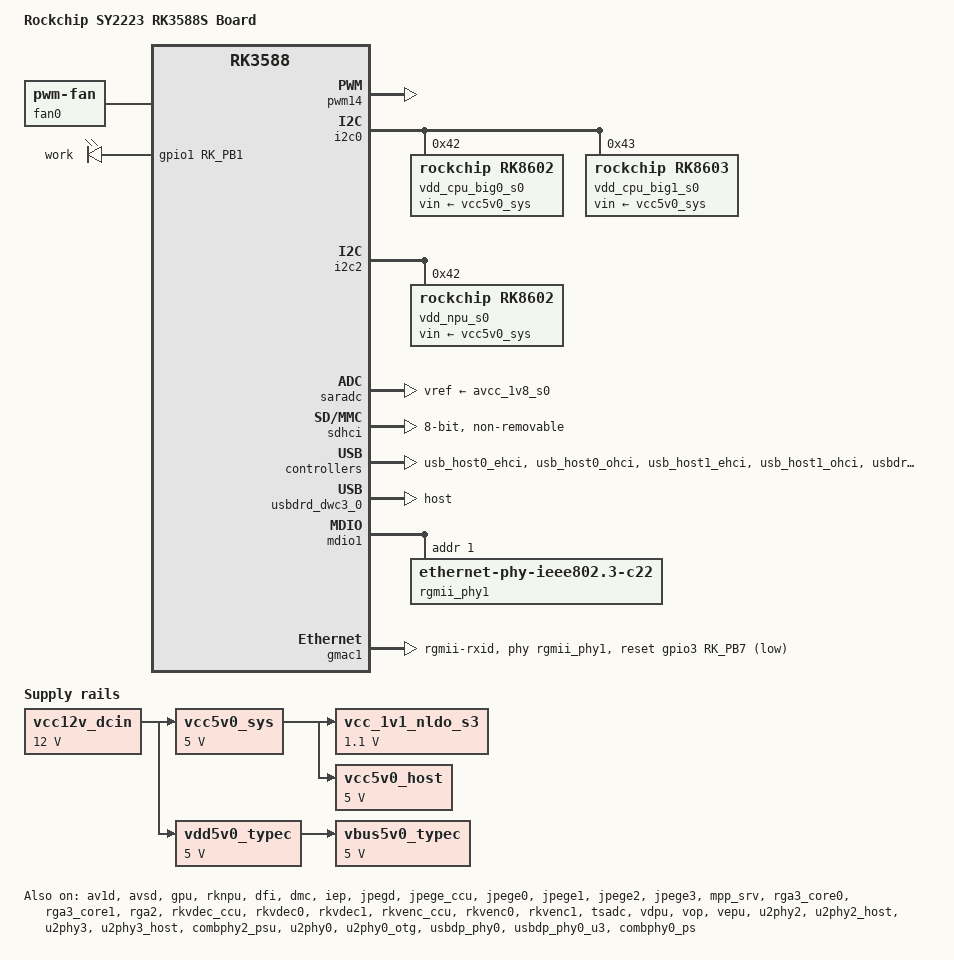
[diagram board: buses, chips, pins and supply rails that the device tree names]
// SPDX-License-Identifier: (GPL-2.0+ OR MIT)
/*
 * Copyright (c) 2022 Rockchip Electronics Co., Ltd.
 * Copyright (c) 2022 Radxa Limited
 * Modify by dy008
 */

/dts-v1/;

#include <dt-bindings/usb/pd.h>
#include <dt-bindings/gpio/gpio.h>
#include <dt-bindings/leds/common.h>
#include <dt-bindings/pwm/pwm.h>
#include <dt-bindings/pinctrl/rockchip.h>
#include <dt-bindings/input/rk-input.h>
#include <dt-bindings/display/drm_mipi_dsi.h>
#include <dt-bindings/display/rockchip_vop.h>
#include <dt-bindings/sensor-dev.h>
#include "rk3588s.dtsi"
#include "rk3588-rk806-single.dtsi"
#include "rk3588-linux.dtsi"

/ {
	model = "Rockchip SY2223 RK3588S Board";
	compatible = "rockchip,sy2223-rk3588s", "rockchip,rk3588";

	/delete-node/ chosen;

	fan0: pwm-fan {
		compatible = "pwm-fan";
		#cooling-cells = <2>;
		cooling-levels = <0 64 128 192 255>;
		//pwms = <&pwm14 0 10000 0>;
	};

	vcc12v_dcin: vcc12v-dcin {
		compatible = "regulator-fixed";
		regulator-name = "vcc12v_dcin";
		regulator-always-on;
		regulator-boot-on;
		regulator-min-microvolt = <12000000>;
		regulator-max-microvolt = <12000000>;
	};

	vcc5v0_sys: vcc5v0-sys {
		compatible = "regulator-fixed";
		regulator-name = "vcc5v0_sys";
		regulator-always-on;
		regulator-boot-on;
		regulator-min-microvolt = <5000000>;
		regulator-max-microvolt = <5000000>;
		vin-supply = <&vcc12v_dcin>;
	};

	vdd5v0_typec: vdd5v0-typec {
		compatible = "regulator-fixed";
		regulator-name = "vdd5v0_typec";
		regulator-always-on;
		regulator-boot-on;
		regulator-min-microvolt = <5000000>;
		regulator-max-microvolt = <5000000>;
		vin-supply = <&vcc12v_dcin>;
	};

	vbus5v0_typec: vbus5v0-typec {
		compatible = "regulator-fixed";
		regulator-name = "vbus5v0_typec";
		regulator-min-microvolt = <5000000>;
		regulator-max-microvolt = <5000000>;
		enable-active-high;
		//gpio = <&gpio4 RK_PA2 GPIO_ACTIVE_HIGH>;
		vin-supply = <&vdd5v0_typec>;
		pinctrl-names = "default";
		//pinctrl-0 = <&vbus5v_typec_pwren>;
	};

	vcc_1v1_nldo_s3: vcc-1v1-nldo-s3 {
		compatible = "regulator-fixed";
		regulator-name = "vcc_1v1_nldo_s3";
		regulator-always-on;
		regulator-boot-on;
		regulator-min-microvolt = <1100000>;
		regulator-max-microvolt = <1100000>;
		vin-supply = <&vcc5v0_sys>;
	};


	vcc5v0_host: vcc5v0-host-regulator {
		compatible = "regulator-fixed";
		regulator-name = "vcc5v0_host";
		regulator-boot-on;
		regulator-always-on;
		regulator-min-microvolt = <5000000>;
		regulator-max-microvolt = <5000000>;
		enable-active-high;
		//gpio = <0xba 0x18 0x00>;
		//gpio = <&gpio3 RK_PD0 GPIO_ACTIVE_HIGH>;
		pinctrl-names = "default";
		//pinctrl-0 = <&vcc5v0_host_en>;
		vin-supply = <&vcc5v0_sys>;
	};

	sdio_pwrseq: sdio-pwrseq {
		compatible = "mmc-pwrseq-simple";
		clocks = <&xin32k>;
		clock-names = "ext_clock";
		post-power-on-delay-ms = <200>;
	};

	/* wireless-wlan {
		compatible = "wlan-platdata";
		wifi_chip_type = "fc80a";
		pinctrl-names = "default";
		//pinctrl-0 = <&wifi_host_wake_irq &wifi_poweren_gpio>;
		//WIFI,host_wake_irq = <0x10e 0x00 0x00>;
		//WIFI,host_wake_irq = <&gpio0 RK_PA0 GPIO_ACTIVE_HIGH>;
		//WIFI,poweren_gpio = <0x10e 0x17 0x00>;
		//WIFI,poweren_gpio = <&gpio0 RK_PC7 GPIO_ACTIVE_HIGH>;
		status = "okay";
	}; */

	/* wireless-bluetooth {
		compatible = "bluetooth-platdata";
		clock-names = "ext_clock";
		//uart_rts_gpios = <0x10b 0x1e 0x01>;
		uart_rts_gpios = <&gpio1 RK_PD6 GPIO_ACTIVE_LOW>;
		pinctrl-names = "default", "rts_gpio";
		pinctrl-0 = <&bt_reset_gpio &bt_wake_gpio &bt_wake_host_irq>;
		pinctrl-1 = <&uart1_gpios>;
		BT,reset_gpio = <&gpio0 RK_PD4 GPIO_ACTIVE_HIGH>;
		BT,wake_gpio = <&gpio0 RK_PC6 GPIO_ACTIVE_HIGH>;
		BT,wake_host_irq = <&gpio0 RK_PB0 GPIO_ACTIVE_HIGH>;
		status = "okay";
	}; */

	/* dp0_sound: dp0-sound {
		status = "okay";
		compatible = "rockchip,hdmi";
		rockchip,card-name = "rockchip-dp0";
		rockchip,mclk-fs = <512>;
		rockchip,cpu = <&spdif_tx2>;
		rockchip,codec = <&dp0 1>;
		rockchip,jack-det;
	}; */

	gpio-leds {
		compatible = "gpio-leds";
		work {
			//gpios = <0x10b 0x09 0x00>;
			gpios = <&gpio1 RK_PB1 GPIO_ACTIVE_HIGH>;
			linux,default-trigger = "heartbeat";
		};
	};
};

&pwm14 {
	pinctrl-names = "active";
	//pinctrl-0 = <&pwm14m1_pins>;
	status = "okay";
};

&i2c0 {
	status = "okay";
	pinctrl-names = "default";
	pinctrl-0 = <&i2c0m2_xfer>;

	vdd_cpu_big0_s0: vdd_cpu_big0_mem_s0: rk8602@42 {
		compatible = "rockchip,rk8602";
		reg = <0x42>;
		vin-supply = <&vcc5v0_sys>;
		regulator-compatible = "rk860x-reg";
		regulator-name = "vdd_cpu_big0_s0";
		regulator-min-microvolt = <550000>;
		regulator-max-microvolt = <1050000>;
		regulator-ramp-delay = <2300>;
		rockchip,suspend-voltage-selector = <1>;
		regulator-boot-on;
		regulator-always-on;
		regulator-state-mem {
			regulator-off-in-suspend;
		};
	};

	vdd_cpu_big1_s0: vdd_cpu_big1_mem_s0: rk8603@43 {
		compatible = "rockchip,rk8603";
		reg = <0x43>;
		vin-supply = <&vcc5v0_sys>;
		regulator-compatible = "rk860x-reg";
		regulator-name = "vdd_cpu_big1_s0";
		regulator-min-microvolt = <550000>;
		regulator-max-microvolt = <1050000>;
		regulator-ramp-delay = <2300>;
		rockchip,suspend-voltage-selector = <1>;
		regulator-boot-on;
		regulator-always-on;
		regulator-state-mem {
			regulator-off-in-suspend;
		};
	};
};

&i2c2 {
	status = "okay";
	pinctrl-names = "default";
	pinctrl-0 = <&i2c2m0_xfer>;

	vdd_npu_s0: vdd_npu_mem_s0: rk8602@42 {
		compatible = "rockchip,rk8602";
		reg = <0x42>;
		vin-supply = <&vcc5v0_sys>;
		regulator-compatible = "rk860x-reg";
		regulator-name = "vdd_npu_s0";
		regulator-min-microvolt = <550000>;
		regulator-max-microvolt = <950000>;
		regulator-ramp-delay = <2300>;
		rockchip,suspend-voltage-selector = <1>;
		regulator-boot-on;
		regulator-always-on;
		regulator-state-mem {
			regulator-off-in-suspend;
		};
	};
};

/* &i2c1 {
	pinctrl-names = "default";
	pinctrl-0 = <&i2c1m4_xfer>;
	status = "okay";

	// Typec Controller Fusb302
	usbc0: fusb302@22 {
		compatible = "fcs,fusb302";
		reg = <0x22>;
		interrupt-parent = <&gpio1>;
		interrupts = <RK_PA6 IRQ_TYPE_LEVEL_LOW>;
		pinctrl-names = "default";
		pinctrl-0 = <&usbc0_int>;
		vbus-supply = <&vbus5v0_typec>;
		status = "okay";

		ports {
			#address-cells = <1>;
			#size-cells = <0>;

			port@0 {
				reg = <0>;
				usbc0_role_sw: endpoint@0 {
					remote-endpoint = <&dwc3_0_role_switch>;
				};
			};
		};

        usb_con: connector {
			compatible = "usb-c-connector";
			label = "USB-C";
			data-role = "dual";
			faster-pd-negotiation;
			power-role = "sink";
			try-power-role = "sink";
			op-sink-microwatt = <1000000>;
			sink-pdos = <PDO_FIXED(5000, 3000, PDO_FIXED_USB_COMM)>;
			source-pdos = <PDO_FIXED(5000, 3000, PDO_FIXED_USB_COMM)>;

			altmodes {
				#address-cells = <1>;
				#size-cells = <0>;

				altmode@0 {
					reg = <0>;
					svid = <0xff01>;
					vdo = <0xffffffff>;
				};
			};

			ports {
				#address-cells = <1>;
				#size-cells = <0>;

				port@0 {
					reg = <0>;
					usbc0_orien_sw: endpoint {
						remote-endpoint = <&usbdp_phy0_orientation_switch>;
					};
				};

				port@1 {
					reg = <1>;
					dp_altmode_mux: endpoint {
						remote-endpoint = <&usbdp_phy0_dp_altmode_mux>;
					};
				};
			};
		};
    };
}; */

&av1d {
	status = "okay";
};

&av1d_mmu {
	status = "okay";
};

&avsd {
	status = "okay";
};

/* CPU */

&cpu_l0 {
	cpu-supply = <&vdd_cpu_lit_s0>;
	mem-supply = <&vdd_cpu_lit_mem_s0>;
};

&cpu_b0 {
	cpu-supply = <&vdd_cpu_big0_s0>;
	mem-supply = <&vdd_cpu_big0_mem_s0>;
};

&cpu_b1 {
	cpu-supply = <&vdd_cpu_big0_s0>;
	mem-supply = <&vdd_cpu_big0_mem_s0>;
	#cooling-cells = <2>;
};

&cpu_b2 {
	cpu-supply = <&vdd_cpu_big1_s0>;
	mem-supply = <&vdd_cpu_big1_mem_s0>;
};

&cpu_b3 {
	cpu-supply = <&vdd_cpu_big1_s0>;
	mem-supply = <&vdd_cpu_big1_mem_s0>;
	#cooling-cells = <2>;
};

/* GPU */

&gpu {
	mali-supply = <&vdd_gpu_s0>;
	mem-supply = <&vdd_gpu_mem_s0>;
	status = "okay";
};

/* NPU */

&rknpu {
	rknpu-supply = <&vdd_npu_s0>;
	mem-supply = <&vdd_npu_mem_s0>;
	status = "okay";
};

&dfi {
	status = "okay";
};

&dmc {
	status = "okay";
	center-supply = <&vdd_ddr_s0>;
	mem-supply = <&vdd_log_s0>;
};

&rknpu_mmu {
	status = "okay";
};

&iep {
	status = "okay";
};

&iep_mmu {
	status = "okay";
};

&jpegd {
	status = "okay";
};

&jpegd_mmu {
	status = "okay";
};

&jpege_ccu {
	status = "okay";
};

&jpege0 {
	status = "okay";
};

&jpege0_mmu {
	status = "okay";
};

&jpege1 {
	status = "okay";
};

&jpege1_mmu {
	status = "okay";
};

&jpege2 {
	status = "okay";
};

&jpege2_mmu {
	status = "okay";
};

&jpege3 {
	status = "okay";
};

&jpege3_mmu {
	status = "okay";
};

&mpp_srv {
	status = "okay";
};

&rga3_core0 {
	status = "okay";
};

&rga3_0_mmu {
	status = "okay";
};

&rga3_core1 {
	status = "okay";
};

&rga3_1_mmu {
	status = "okay";
};

&rga2 {
	status = "okay";
};

&rkvdec_ccu {
	status = "okay";
};

&rkvdec0 {
	status = "okay";
};

&rkvdec0_mmu {
	status = "okay";
};

&rkvdec1 {
	status = "okay";
};

&rkvdec1_mmu {
	status = "okay";
};

&rkvenc_ccu {
	status = "okay";
};

&rkvenc0 {
	status = "okay";
};

&rkvenc0_mmu {
	status = "okay";
};

&rkvenc1 {
	status = "okay";
};

&rkvenc1_mmu {
	status = "okay";
};

&saradc {
	status = "okay";
	vref-supply = <&avcc_1v8_s0>;
};

/* Storage */
/* eMMC */

&sdhci {
	bus-width = <8>;
	no-sdio;
	no-sd;
	non-removable;
	max-frequency = <200000000>;
	mmc-hs200-1_8v;
	mmc-hs400-1_8v;
	mmc-hs400-enhanced-strobe;
	status = "okay";
};

/* SD */

/* &sdmmc {
	max-frequency = <200000000>;
	no-sdio;
	no-mmc;
	bus-width = <4>;
	cap-mmc-highspeed;
	cap-sd-highspeed;
	disable-wp;
	sd-uhs-sdr104;
	vqmmc-supply = <&vccio_sd_s0>;
	pinctrl-names = "default";
	pinctrl-0 = <&sdmmc_bus4 &sdmmc_clk &sdmmc_cmd &sdmmc_det>;
	status = "okay";
}; */

/* &sdio {
	max-frequency = <150000000>;
	no-sd;
	no-mmc;
	bus-width = <4>;
	disable-wp;
	cap-sd-highspeed;
	cap-sdio-irq;
	keep-power-in-suspend;
	mmc-pwrseq = <&sdio_pwrseq>;
	non-removable;
	pinctrl-names = "default";
	pinctrl-0 = <&sdiom1_pins>;
	sd-uhs-sdr104;
	status = "okay";
}; */

/* ADC */

&tsadc {
	status = "okay";
};

&vdpu {
	status = "okay";
};

&vdpu_mmu {
	status = "okay";
};

&vop {
	status = "okay";
};

&vop_mmu {
	status = "okay";
};

&vepu {
	status = "okay";
};

/* vp0 & vp1 splice for 8K output */
&vp0 {
	rockchip,plane-mask = <(1 << ROCKCHIP_VOP2_CLUSTER0 | 1 << ROCKCHIP_VOP2_ESMART0)>;
	rockchip,primary-plane = <ROCKCHIP_VOP2_ESMART0>;
};

&vp1 {
	rockchip,plane-mask = <(1 << ROCKCHIP_VOP2_CLUSTER1 | 1 << ROCKCHIP_VOP2_ESMART1)>;
	rockchip,primary-plane = <ROCKCHIP_VOP2_ESMART1>;
};

&vp2 {
	rockchip,plane-mask = <(1 << ROCKCHIP_VOP2_CLUSTER2 | 1 << ROCKCHIP_VOP2_ESMART2)>;
	rockchip,primary-plane = <ROCKCHIP_VOP2_ESMART2>;
};

&vp3 {
	rockchip,plane-mask = <(1 << ROCKCHIP_VOP2_CLUSTER3 | 1 << ROCKCHIP_VOP2_ESMART3)>;
	rockchip,primary-plane = <ROCKCHIP_VOP2_ESMART3>;
};

/* Video Ports */
/* &display_subsystem {
	clocks = <&hdptxphy_hdmi0>;
	clock-names =  "hdmi0_phy_pll";

	route {
		route_hdmi1: route-hdmi0 {
			status = "okay";
			logo,uboot = "boot.bmp";
			logo,kernel = "boot-desktop.png";
			logo,mode = "center";
			charge_logo,mode = "center";
			connect = <&vp0_out_hdmi0>;
		};
	};
};

&hdptxphy_hdmi0 {
	status = "okay";
}; */

/* &hdmi0 {
	status = "okay";
	//cec-enable = "true";
	// enable-gpios = <0xe5 0x09 0x00>;
	//enable-gpios = <&gpio4 RK_PB1 GPIO_ACTIVE_HIGH>;
	pinctrl-names = "default";
	pinctrl-0 = <&hdmim0_tx0_cec &hdmim0_tx0_hpd &hdmim0_tx0_scl &hdmim0_tx0_sda>;
};

&hdmi0_in_vp1 {
	status = "okay";
};

/* DP */
/* 
&dp0 {
	status = "okay";
};

&dp0_in_vp0 {
	status = "okay";
};

&route_dp0 {
	status = "okay";
	connect = <&vp0_out_dp0>;
}; */

/* &spdif_tx2 {
	status = "okay";
}; */

/* USB */

&usb_host0_ehci {
	status = "okay";
};

&usb_host0_ohci {
	status = "okay";
};

&u2phy2 {
	status = "okay";
};

&u2phy2_host {
	status = "okay";
	//phy-supply = <&vcc5v0_host>;
};

&usb_host1_ehci {
	status = "okay";
};

&usb_host1_ohci {
	status = "okay";
};

&u2phy3 {
	status = "okay";
};

&u2phy3_host {
	//phy-supply = <&vcc5v0_host>;
	status = "okay";
};

&combphy2_psu {
	status = "okay";
};

//USB2.0 PHY0
&u2phy0 {
	status = "okay";
};

&u2phy0_otg {
	status = "okay";
	rockchip,typec-vbus-det;
};

/* USB3.1/DP Combo PHY0 */
&usbdp_phy0 {	
    rockchip,dp-lane-mux = < 2 3 >;
	status = "okay";
};

/* &usbdp_phy0_dp {
	status = "okay";
}; */

&usbdp_phy0_u3 {
	status = "okay";
};

/* USB3.1 OTG0 Controller  */
&usbdrd3_0 {
	status = "okay";
};

&usbdrd_dwc3_0 {
	dr_mode = "host";	
	status = "okay";
};

/* PCIe */
	
&combphy0_ps {
	status = "okay";
};

/* &pcie2x1l2 {
	status = "okay";
	//reset-gpios = <0xb9 0x11 0x00>;
	//reset-gpios = <&gpio4 RK_PC1 GPIO_ACTIVE_HIGH>;
}; */

/* Ethernet */

&mdio1 {
	rgmii_phy1: phy@1 {
		compatible = "ethernet-phy-ieee802.3-c22";
		reg = <0x01>;
	};
};

&gmac1 {
	status = "okay";
	phy-mode = "rgmii-rxid";
	clock_in_out = "output";
	snps,reset-gpio = <&gpio3 RK_PB7 GPIO_ACTIVE_LOW>;
	snps,reset-active-low;
	// Reset time is 20ms, 100ms for rtl8211f
	snps,reset-delays-us = <0 20000 100000>;

	pinctrl-names = "default";
	pinctrl-0 = <&gmac1_miim
		     &gmac1_tx_bus2
		     &gmac1_rx_bus2
		     &gmac1_rgmii_clk
		     &gmac1_rgmii_bus>;

	tx_delay = <0x45>;
	//rx_delay = <0x3e>;

	phy-handle = <&rgmii_phy1>;
};

/* I2C */

&threshold {
	temperature = <60000>;
};

&soc_thermal {
	sustainable-power = <5000>; /* milliwatts */
	cooling-maps {
		map3 {
			trip = <&target>;
			cooling-device =
				<&fan0 THERMAL_NO_LIMIT THERMAL_NO_LIMIT>;
			contribution = <8192>;
		};
		map4 {
			trip = <&threshold>;
			cooling-device =
				<&fan0 THERMAL_NO_LIMIT THERMAL_NO_LIMIT>;
			contribution = <8192>;
		};
	};
};

&rockchip_suspend {
	compatible = "rockchip,pm-rk3588";
	status = "okay";
	rockchip,sleep-debug-en = <1>;
	rockchip,sleep-mode-config = <
		(0
		| RKPM_SLP_ARMOFF_DDRPD
		)
	>;
	rockchip,wakeup-config = <
		(0
		| RKPM_GPIO_WKUP_EN
		| RKPM_USB_WKUP_EN
		)
	>;
};

&avdd_0v75_s0 {
	regulator-state-mem {
		regulator-on-in-suspend;
		regulator-suspend-microvolt = <837500>;
	};
};

&avcc_1v8_s0 {
	regulator-state-mem {
		regulator-on-in-suspend;
		regulator-suspend-microvolt = <1800000>;
	};
};

&vcc_1v8_s0 {
	regulator-state-mem {
		regulator-on-in-suspend;
		regulator-suspend-microvolt = <1800000>;
	};
};

&vcc_3v3_s0 {
	regulator-state-mem {
		regulator-on-in-suspend;
		regulator-suspend-microvolt = <3300000>;
	};
};

&vdd_log_s0 {
	regulator-state-mem {
		regulator-on-in-suspend;
		regulator-suspend-microvolt = <750000>;
	};
};

&vdd_ddr_pll_s0 {
	regulator-state-mem {
		regulator-on-in-suspend;
		regulator-suspend-microvolt = <850000>;
	};
};

&pinctrl {
	usb {
		vcc5v0_host_en: vcc5v0-host-en {
			//rockchip,pins = <0x03 0x18 0x00 0x15a>;
			rockchip,pins = <3 RK_PD0 RK_FUNC_GPIO &pcfg_pull_up>;
		};

		usbc0_int: usbc0-int {
			//rockchip,pins = <0x01 0x06 0x00 0x15a>;
			rockchip,pins = <1 RK_PA6 RK_FUNC_GPIO &pcfg_pull_up>;
		};

		vdd5v_typec_pwren: vdd5v-typec-pwren {
			//rockchip,pins = <0x00 0x04 0x00 0x15a>;
			rockchip,pins = <0 RK_PA4 RK_FUNC_GPIO &pcfg_pull_up>;
		};

		vbus5v_typec_pwren: vbus5v-typec-pwren {
			//rockchip,pins = <0x04 0x02 0x00 0x15a>;
			rockchip,pins = <4 RK_PA2 RK_FUNC_GPIO &pcfg_pull_up>;
		};
	};

	wireless-bluetooth {

			uart1_gpios: uart1-gpios {
				//rockchip,pins = <0x01 0x1e 0x00 0x157>;
				rockchip,pins = <1 RK_PD6 RK_FUNC_GPIO &pcfg_pull_none>;
			};

			bt_reset_gpio: bt-reset-gpio {
				//rockchip,pins = <0x00 0x1c 0x00 0x157>;
				rockchip,pins = <0 RK_PD5 RK_FUNC_GPIO &pcfg_pull_none>;
			};

			bt_wake_gpio: bt-wake-gpio {
				//rockchip,pins = <0x00 0x16 0x00 0x157>;
				rockchip,pins = <0 RK_PC6 RK_FUNC_GPIO &pcfg_pull_none>;
			};

			bt_wake_host_irq: bt-wake-host-irq {
				//rockchip,pins = <0x00 0x08 0x00 0x15d>;
				rockchip,pins = <0 RK_PB0 RK_FUNC_GPIO &pcfg_pull_down>;
			};
		};

		wireless-wlan {

			wifi_host_wake_irq: wifi-host-wake-irq {
				//rockchip,pins = <0x00 0x00 0x00 0x15d>;
				rockchip,pins = <0 RK_PA0 RK_FUNC_GPIO &pcfg_pull_down>;
			};

			wifi_poweren_gpio: wifi-poweren-gpio {
				//rockchip,pins = <0x00 0x17 0x00 0x15a>;
				rockchip,pins = <0 RK_PC7 RK_FUNC_GPIO &pcfg_pull_up>;
			};
		};
};

&gpio0 {
	gpio-line-names =
		/* GPIO0_A0-A3 */
		"", "", "", "",
		/* GPIO0_A4-A7 */
		"", "", "", "",

		/* GPIO0_B0-B3 */
		"", "", "", "",
		/* GPIO0_B4-B7 */
		"", "PIN_8", "PIN_10", "",

		/* GPIO0_C0-C3 */
		"", "", "", "",
		/* GPIO0_C4-C7 */
		"", "", "", "PIN_27",

		/* GPIO0_D0-D3 */
		"PIN_28", "", "", "",
		/* GPIO0_D4-D7 */
		"", "", "", "";
};

&gpio1 {
	gpio-line-names =
		/* GPIO1_A0-A3 */
		"PIN_21", "PIN_19", "PIN_23", "PIN_24",
		/* GPIO1_A4-A7 */
		"PIN_26", "PIN_16", "", "",

		/* GPIO1_B0-B3 */
		"PIN_18", "PIN_31", "PIN_29", "PIN_7",
		/* GPIO1_B4-B7 */
		"PIN_33", "PIN_22", "", "",

		/* GPIO1_C0-C3 */
		"", "", "", "",
		/* GPIO1_C4-C7 */
		"", "", "", "",

		/* GPIO1_D0-D3 */
		"", "", "", "",
		/* GPIO1_D4-D7 */
		"", "", "PIN_5", "PIN_3";
};

&gpio2 {
	gpio-line-names =
		/* GPIO2_A0-A3 */
		"", "", "", "",
		/* GPIO2_A4-A7 */
		"", "", "", "",

		/* GPIO2_B0-B3 */
		"", "", "", "",
		/* GPIO2_B4-B7 */
		"", "", "", "",

		/* GPIO2_C0-C3 */
		"", "", "", "",
		/* GPIO2_C4-C7 */
		"", "", "", "",

		/* GPIO2_D0-D3 */
		"", "", "", "",
		/* GPIO2_D4-D7 */
		"", "", "", "";
};

&gpio3 {
	gpio-line-names =
		/* GPIO3_A0-A3 */
		"", "", "", "",
		/* GPIO3_A4-A7 */
		"", "", "", "",

		/* GPIO3_B0-B3 */
		"", "", "", "",
		/* GPIO3_B4-B7 */
		"", "", "", "",

		/* GPIO3_C0-C3 */
		"", "", "", "",
		/* GPIO3_C4-C7 */
		"", "", "", "",

		/* GPIO3_D0-D3 */
		"", "", "", "",
		/* GPIO3_D4-D7 */
		"", "", "", "";
};

&gpio4 {
	gpio-line-names =
		/* GPIO4_A0-A3 */
		"PIN_35", "PIN_12", "PIN_36", "",
		/* GPIO4_A4-A7 */
		"", "PIN_38", "", "",

		/* GPIO4_B0-B3 */
		"PIN_32", "PIN_40", "PIN_13", "PIN_11",
		/* GPIO4_B4-B7 */
		"PIN_15", "", "", "",

		/* GPIO4_C0-C3 */
		"", "", "", "",
		/* GPIO4_C4-C7 */
		"", "", "", "",

		/* GPIO4_D0-D3 */
		"", "", "", "",
		/* GPIO4_D4-D7 */
		"", "", "", "";
};
